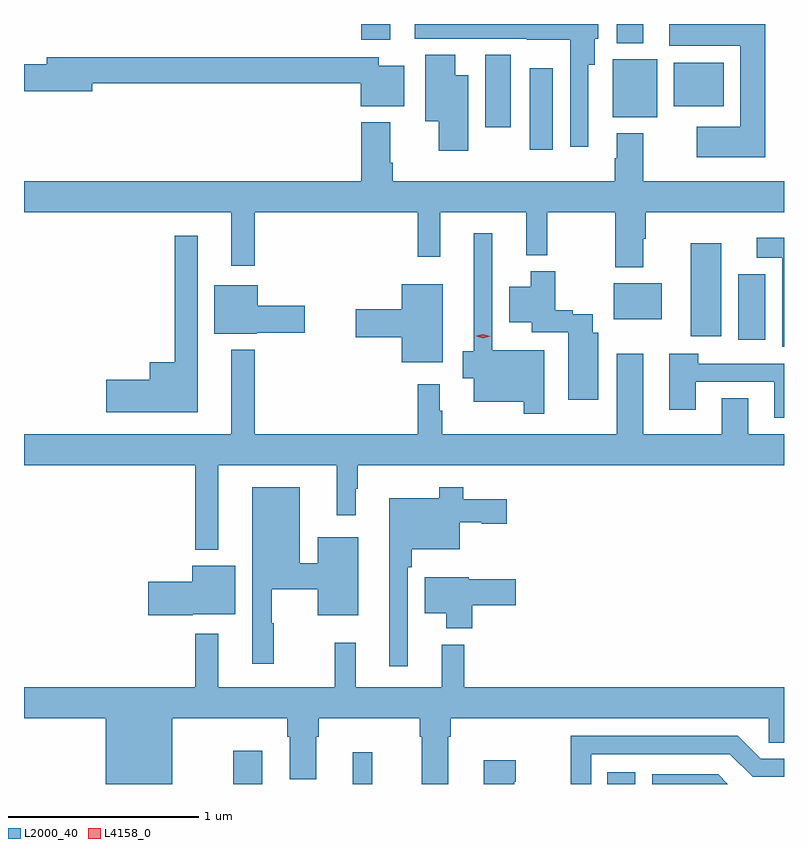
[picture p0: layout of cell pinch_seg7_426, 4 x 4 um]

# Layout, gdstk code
import gdstk
lib = gdstk.Library(unit=1e-6, precision=1e-09)
def R(c, l, rs):  # rectangles x0, y0, x1, y1
    for r in rs: c.add(gdstk.rectangle(r[:2], r[2:], *l))
def P(c, l, *ps):  # polygons
    for p in ps: c.add(gdstk.Polygon(p, *l))
L2000_40 = (2000, 40)
L4158_0 = (4158, 0)

pinch_seg7_426 = lib.new_cell('pinch_seg7_426')
R(pinch_seg7_426, L2000_40, [(322.531,1056.215,322.684,1056.391), (323.162,1056.215,323.264,1056.382), (324.502,1056.215,324.648,1056.277), (325.19,1058.553,325.333,1058.899), (324.941,1058.571,325.102,1059.061), (324.536,1058.66,324.787,1058.851), (324.092,1059.552,324.214,1059.982), (323.858,1059.672,323.992,1060.052), (324.53,1059.725,324.763,1060.03), (324.851,1059.782,325.114,1060.012), (324.551,1060.115,324.691,1060.215), (323.207,1060.131,323.359,1060.215)])
P(pinch_seg7_426, L2000_40, [(325.332,1060.215),(324.827,1060.215),(324.827,1060.1),(325.202,1060.1),(325.202,1059.673),(324.972,1059.673),(324.972,1059.515),(325.332,1059.515)],
  [(324.402,1060.001),(324.436,1060.001),(324.436,1060.137),(324.454,1060.137),(324.454,1060.215),(323.487,1060.215),(323.487,1060.137),(324.078,1060.137),(324.078,1060.133),(324.306,1060.133),(324.306,1059.57),(324.402,1059.57)],
  [(323.77,1059.946),(323.701,1059.946),(323.701,1060.052),(323.543,1060.052),(323.543,1059.704),(323.615,1059.704),(323.615,1059.549),(323.77,1059.549)],
  [(323.431,1059.994),(323.298,1059.994),(323.298,1060.04),(321.551,1060.04),(321.551,1060.004),(321.431,1060.004),(321.431,1059.862),(321.79,1059.862),(321.79,1059.904),(323.204,1059.904),(323.204,1059.782),(323.431,1059.782)],
  [(324.691,1059.086),(324.704,1059.086),(324.704,1059.224),(325.431,1059.224),(325.431,1059.388),(324.691,1059.388),(324.691,1059.64),(324.551,1059.64),(324.551,1059.509),(324.539,1059.509),(324.539,1059.388),(323.372,1059.388),(323.372,1059.484),(323.359,1059.484),(323.359,1059.697),(323.207,1059.697),(323.207,1059.388),(321.431,1059.388),(321.431,1059.224),(322.523,1059.224),(322.523,1058.943),(322.645,1058.943),(322.645,1059.224),(323.503,1059.224),(323.503,1058.991),(323.621,1058.991),(323.621,1059.224),(324.074,1059.224),(324.074,1058.999),(324.184,1058.999),(324.184,1059.224),(324.544,1059.224),(324.544,1058.936),(324.691,1058.936)],
  [(324.168,1058.497),(323.895,1058.497),(323.895,1059.115),(323.798,1059.115),(323.798,1058.492),(323.741,1058.492),(323.741,1058.35),(323.798,1058.35),(323.798,1058.228),(324.06,1058.228),(324.06,1058.163),(324.168,1058.163)],
  [(322.345,1059.1),(322.224,1059.1),(322.224,1058.434),(322.094,1058.434),(322.094,1058.342),(321.864,1058.342),(321.864,1058.171),(322.345,1058.171)],
  [(325.431,1059.091),(325.287,1059.091),(325.287,1058.984),(325.422,1058.984),(325.422,1058.517),(325.431,1058.517)],
  [(324.454,1058.59),(324.424,1058.59),(324.424,1058.688),(324.318,1058.688),(324.318,1058.708),(324.228,1058.708),(324.228,1058.914),(324.098,1058.914),(324.098,1058.833),(323.984,1058.833),(323.984,1058.645),(324.104,1058.645),(324.104,1058.592),(324.296,1058.592),(324.296,1058.238),(324.454,1058.238)],
  [(323.635,1058.845),(323.42,1058.845),(323.42,1058.714),(323.178,1058.714),(323.178,1058.567),(323.42,1058.567),(323.42,1058.435),(323.635,1058.435)],
  [(322.656,1058.591),(322.909,1058.591),(322.909,1058.733),(322.66,1058.733),(322.66,1058.839),(322.433,1058.839),(322.433,1058.585),(322.656,1058.585)],
  [(322.453,1057.892),(323.078,1057.892),(323.078,1057.629),(323.176,1057.629),(323.176,1057.769),(323.188,1057.769),(323.188,1057.892),(325.431,1057.892),(325.431,1058.056),(325.243,1058.056),(325.243,1058.246),(325.103,1058.246),(325.103,1058.056),(324.691,1058.056),(324.691,1058.479),(324.551,1058.479),(324.551,1058.056),(323.632,1058.056),(323.632,1058.18),(323.62,1058.18),(323.62,1058.32),(323.503,1058.32),(323.503,1058.056),(322.645,1058.056),(322.645,1058.5),(322.523,1058.5),(322.523,1058.056),(321.431,1058.056),(321.431,1057.892),(322.332,1057.892),(322.332,1057.448),(322.453,1057.448)],
  [(325.431,1058.427),(324.98,1058.427),(324.98,1058.479),(324.827,1058.479),(324.827,1058.184),(324.967,1058.184),(324.967,1058.331),(325.379,1058.331),(325.379,1058.142),(325.431,1058.142)],
  [(323.451,1057.355),(323.471,1057.355),(323.471,1057.451),(323.725,1057.451),(323.725,1057.592),(323.84,1057.592),(323.84,1057.585),(323.971,1057.585),(323.971,1057.714),(323.744,1057.714),(323.744,1057.777),(323.616,1057.777),(323.616,1057.72),(323.354,1057.72),(323.354,1056.834),(323.451,1056.834)],
  [(322.745,1057.062),(322.735,1057.062),(322.735,1057.24),(322.976,1057.24),(322.976,1057.103),(323.191,1057.103),(323.191,1057.513),(322.976,1057.513),(322.976,1057.376),(322.882,1057.376),(322.882,1057.777),(322.631,1057.777),(322.631,1056.849),(322.745,1056.849)],
  [(322.32,1057.109),(322.543,1057.109),(322.543,1057.363),(322.316,1057.363),(322.316,1057.28),(322.086,1057.28),(322.086,1057.102),(322.32,1057.102)],
  [(323.789,1057.156),(324.019,1057.156),(324.019,1057.293),(323.772,1057.293),(323.772,1057.303),(323.54,1057.303),(323.54,1057.115),(323.654,1057.115),(323.654,1057.034),(323.789,1057.034)],
  [(322.21,1056.56),(322.817,1056.56),(322.817,1056.464),(322.829,1056.464),(322.829,1056.24),(322.969,1056.24),(322.969,1056.464),(322.982,1056.464),(322.982,1056.56),(323.513,1056.56),(323.513,1056.464),(323.525,1056.464),(323.525,1056.215),(323.665,1056.215),(323.665,1056.464),(323.678,1056.464),(323.678,1056.56),(325.35,1056.56),(325.35,1056.433),(325.431,1056.433),(325.431,1056.724),(323.747,1056.724),(323.747,1056.949),(323.63,1056.949),(323.63,1056.724),(323.177,1056.724),(323.177,1056.958),(323.067,1056.958),(323.067,1056.724),(322.453,1056.724),(322.453,1057.006),(322.332,1057.006),(322.332,1056.724),(321.431,1056.724),(321.431,1056.56),(321.86,1056.56),(321.86,1056.215),(322.21,1056.215)],
  [(324.417,1056.372),(325.146,1056.372),(325.266,1056.252),(325.431,1056.252),(325.431,1056.348),(325.308,1056.348),(325.188,1056.468),(324.309,1056.468),(324.309,1056.215),(324.417,1056.215)],
  [(324.01,1056.227),(324.018,1056.227),(324.018,1056.34),(323.852,1056.34),(323.852,1056.215),(324.01,1056.215)],
  [(325.084,1056.267),(324.738,1056.267),(324.738,1056.215),(325.136,1056.215)])
P(pinch_seg7_426, L4158_0, [(323.848,1058.562),(323.812,1058.572),(323.812,1058.573),(323.812,1058.573),(323.848,1058.582),(323.884,1058.571),(323.884,1058.571),(323.884,1058.571)])

lib.write_gds('pinch_seg7_426.gds')
